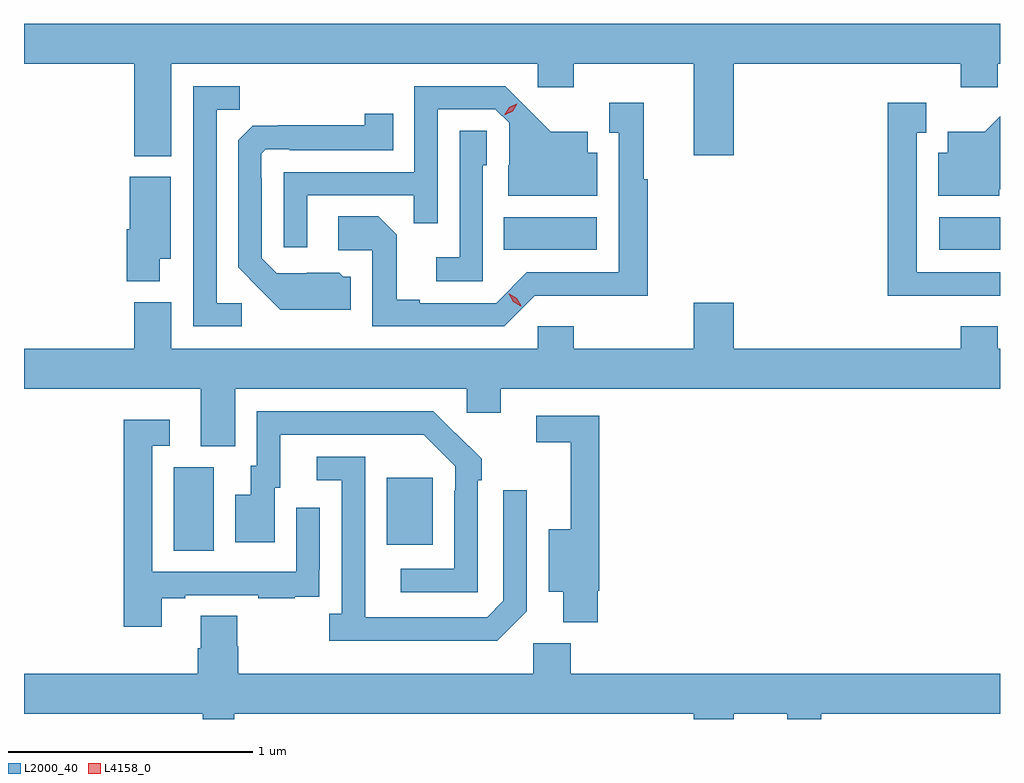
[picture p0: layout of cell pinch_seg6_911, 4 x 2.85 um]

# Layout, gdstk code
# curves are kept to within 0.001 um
import gdstk
lib = gdstk.Library(unit=1e-6, precision=1e-09)
def R(c, l, rs):  # rectangles x0, y0, x1, y1
    for r in rs: c.add(gdstk.rectangle(r[:2], r[2:], *l))
def P(c, l, *ps):  # polygons
    for p in ps: c.add(gdstk.Polygon(p, *l))
L2000_40 = (2000, 40)
L4158_0 = (4158, 0)

pinch_seg6_911 = lib.new_cell('pinch_seg6_911')
R(pinch_seg6_911, L2000_40, [(342.698,936.016,342.862,936.36), (343.571,936.041,343.759,936.316), (344.05,937.25,344.431,937.384), (345.834,937.25,346.084,937.384)])
P(pinch_seg6_911, L2000_40, [(342.688,938.012),(344.19,938.012),(344.19,937.917),(344.337,937.917),(344.337,938.012),(344.828,938.012),(344.828,937.638),(344.992,937.638),(344.992,938.012),(345.923,938.012),(345.923,937.917),(346.074,937.917),(346.074,938.012),(346.084,938.012),(346.084,938.176),(342.084,938.176),(342.084,938.012),(342.536,938.012),(342.536,937.634),(342.688,937.634)],
  [(342.976,937.032),(342.873,937.032),(342.873,937.825),(342.969,937.825),(342.969,937.92),(342.777,937.92),(342.777,936.936),(342.976,936.936)],
  [(343.245,937.473),(343.681,937.473),(343.681,937.36),(343.779,937.36),(343.779,937.827),(344.016,937.827),(344.073,937.77),(344.073,937.596),(344.069,937.596),(344.069,937.472),(344.434,937.472),(344.434,937.648),(344.395,937.648),(344.395,937.735),(344.243,937.735),(344.056,937.92),(343.683,937.92),(343.683,937.569),(343.149,937.569),(343.149,937.26),(343.245,937.26)],
  [(344.178,937.062),(344.641,937.061),(344.641,937.539),(344.623,937.539),(344.623,937.852),(344.483,937.852),(344.483,937.731),(344.522,937.731),(344.522,937.158),(344.145,937.158),(344.019,937.032),(343.705,937.032),(343.705,937.045),(343.611,937.045),(343.611,937.312),(343.535,937.388),(343.371,937.388),(343.371,937.248),(343.512,937.248),(343.512,936.936),(344.052,936.936)],
  [(345.864,937.062),(346.084,937.062),(346.084,937.158),(345.742,937.158),(345.742,937.731),(345.781,937.731),(345.781,937.852),(345.624,937.852),(345.624,937.061),(345.864,937.061)],
  [(343.423,937.14),(343.392,937.14),(343.376,937.156),(343.119,937.155),(343.059,937.215),(343.059,937.544),(343.056,937.544),(343.056,937.644),(343.074,937.662),(343.174,937.662),(343.174,937.659),(343.598,937.659),(343.598,937.807),(343.48,937.807),(343.48,937.76),(343.022,937.759),(342.963,937.7),(342.963,937.178),(343.135,937.004),(343.423,937.004)],
  [(346.08,937.499),(346.084,937.499),(346.084,937.797),(346.021,937.735),(345.869,937.735),(345.869,937.648),(345.83,937.648),(345.83,937.472),(346.08,937.472)],
  [(343.965,937.596),(343.98,937.596),(343.98,937.739),(343.869,937.739),(343.869,937.219),(343.773,937.219),(343.773,937.122),(343.965,937.122)],
  [(342.64,937.214),(342.685,937.214),(342.685,937.549),(342.518,937.549),(342.518,937.335),(342.506,937.335),(342.506,937.121),(342.64,937.121)],
  [(342.949,936.68),(343.899,936.68),(343.899,936.582),(344.038,936.582),(344.038,936.68),(346.084,936.68),(346.084,936.844),(346.074,936.844),(346.074,936.937),(345.923,936.937),(345.923,936.844),(344.992,936.844),(344.992,937.033),(344.828,937.033),(344.828,936.844),(344.337,936.844),(344.337,936.937),(344.19,936.937),(344.19,936.844),(342.688,936.844),(342.688,937.036),(342.536,937.036),(342.536,936.844),(342.084,936.844),(342.084,936.68),(342.809,936.68),(342.809,936.445),(342.949,936.445)],
  [(343.944,936.305),(343.959,936.305),(343.959,936.393),(343.762,936.588),(343.038,936.588),(343.038,936.366),(343.013,936.366),(343.013,936.247),(342.95,936.247),(342.95,936.051),(343.111,936.051),(343.111,936.276),(343.135,936.276),(343.135,936.492),(343.723,936.492),(343.851,936.363),(343.851,936.263),(343.848,936.263),(343.848,935.943),(343.629,935.943),(343.629,935.847),(343.944,935.847)],
  [(344.435,935.853),(344.441,935.853),(344.441,936.57),(344.184,936.57),(344.184,936.462),(344.324,936.462),(344.324,936.106),(344.234,936.106),(344.234,935.849),(344.294,935.849),(344.294,935.723),(344.435,935.723)],
  [(342.649,935.823),(342.745,935.823),(342.745,935.835),(343.045,935.835),(343.045,935.823),(343.193,935.823),(343.193,935.829),(343.295,935.829),(343.295,935.938),(343.296,935.938),(343.296,936.193),(343.2,936.193),(343.2,935.931),(342.609,935.931),(342.609,936.447),(342.682,936.447),(342.682,936.553),(342.493,936.553),(342.493,935.706),(342.649,935.706)],
  [(344.145,935.769),(344.145,936.265),(344.049,936.265),(344.049,935.811),(343.983,935.745),(343.483,935.745),(343.482,936.402),(343.284,936.402),(343.284,936.306),(343.386,936.306),(343.386,935.758),(343.335,935.758),(343.335,935.648),(344.024,935.648)],
  [(342.946,935.348),(344.828,935.348),(344.828,935.327),(344.992,935.327),(344.992,935.348),(345.212,935.348),(345.212,935.327),(345.352,935.327),(345.352,935.348),(346.084,935.348),(346.084,935.512),(344.324,935.512),(344.324,935.638),(344.172,935.638),(344.172,935.512),(342.962,935.512),(342.962,935.625),(342.957,935.625),(342.957,935.75),(342.809,935.75),(342.809,935.618),(342.797,935.618),(342.797,935.512),(342.084,935.512),(342.084,935.348),(342.817,935.348),(342.817,935.327),(342.946,935.327)])
P(pinch_seg6_911, L4158_0, [(344.055,937.804),(344.055,937.805),(344.073,937.834),(344.104,937.848),(344.105,937.848),(344.105,937.848),(344.087,937.819),(344.056,937.804)],
  [(344.12,937.019),(344.089,937.038),(344.071,937.071),(344.071,937.071),(344.072,937.071),(344.103,937.052),(344.121,937.02),(344.121,937.019)])

lib.write_gds('pinch_seg6_911.gds')
